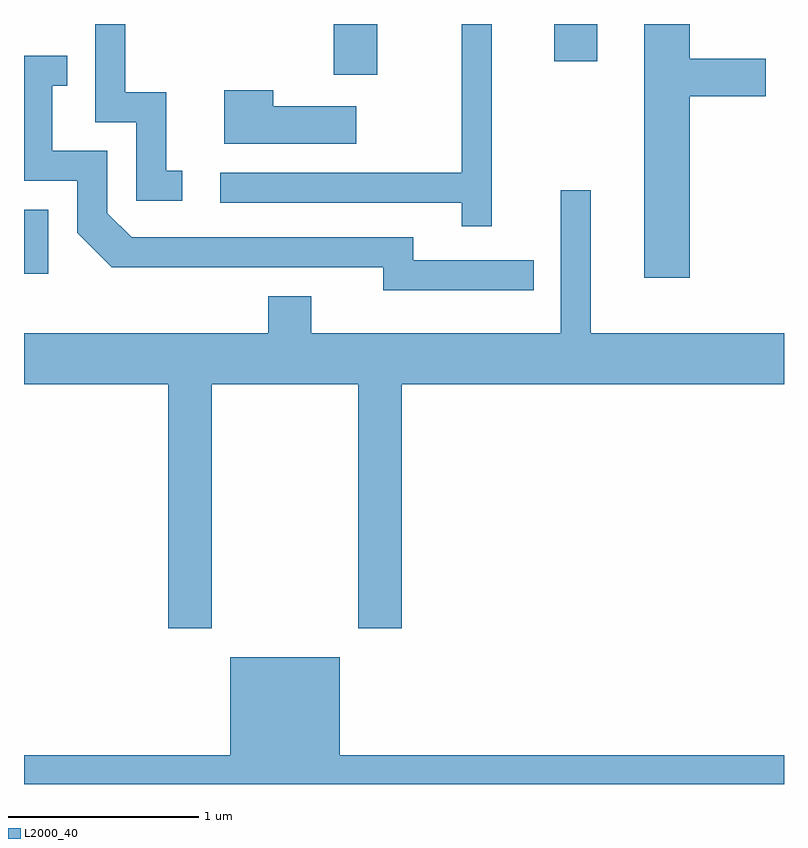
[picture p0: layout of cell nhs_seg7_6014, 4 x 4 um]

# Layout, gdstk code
import gdstk
lib = gdstk.Library(unit=1e-6, precision=1e-09)
def R(c, l, rs):  # rectangles x0, y0, x1, y1
    for r in rs: c.add(gdstk.rectangle(r[:2], r[2:], *l))
def P(c, l, *ps):  # polygons
    for p in ps: c.add(gdstk.Polygon(p, *l))
L2000_40 = (2000, 40)

nhs_seg7_6014 = lib.new_cell('nhs_seg7_6014')
R(nhs_seg7_6014, L2000_40, [(369.611,1674.938,369.739,1675.274), (371.241,1675.986,371.469,1676.252), (372.401,1676.056,372.629,1676.252)])
P(nhs_seg7_6014, L2000_40, [(370.443,1675.479),(370.359,1675.479),(370.359,1675.894),(370.144,1675.894),(370.144,1676.252),(369.986,1676.252),(369.986,1675.736),(370.201,1675.736),(370.201,1675.321),(370.443,1675.321)],
  [(372.074,1676.252),(371.916,1676.252),(371.916,1675.469),(370.643,1675.469),(370.643,1675.311),(371.916,1675.311),(371.916,1675.188),(372.074,1675.188)],
  [(373.114,1675.871),(373.514,1675.871),(373.514,1676.069),(373.114,1676.069),(373.114,1676.252),(372.876,1676.252),(372.876,1674.916),(373.114,1674.916)],
  [(372.293,1675.009),(371.659,1675.009),(371.659,1675.129),(370.177,1675.129),(370.049,1675.257),(370.049,1675.584),(369.759,1675.584),(369.759,1675.926),(369.838,1675.926),(369.838,1676.084),(369.611,1676.084),(369.611,1675.426),(369.891,1675.426),(369.891,1675.154),(370.074,1674.971),(371.501,1674.971),(371.501,1674.851),(372.293,1674.851)],
  [(371.359,1675.819),(370.924,1675.819),(370.924,1675.904),(370.666,1675.904),(370.666,1675.621),(371.359,1675.621)],
  [(370.599,1674.356),(371.371,1674.356),(371.371,1673.071),(371.599,1673.071),(371.599,1674.356),(373.611,1674.356),(373.611,1674.624),(372.594,1674.624),(372.594,1675.378),(372.436,1675.378),(372.436,1674.624),(371.124,1674.624),(371.124,1674.819),(370.896,1674.819),(370.896,1674.624),(369.611,1674.624),(369.611,1674.356),(370.371,1674.356),(370.371,1673.071),(370.599,1673.071)],
  [(373.611,1672.404),(371.274,1672.404),(371.274,1672.919),(370.696,1672.919),(370.696,1672.404),(369.611,1672.404),(369.611,1672.252),(373.611,1672.252)])

lib.write_gds('nhs_seg7_6014.gds')
